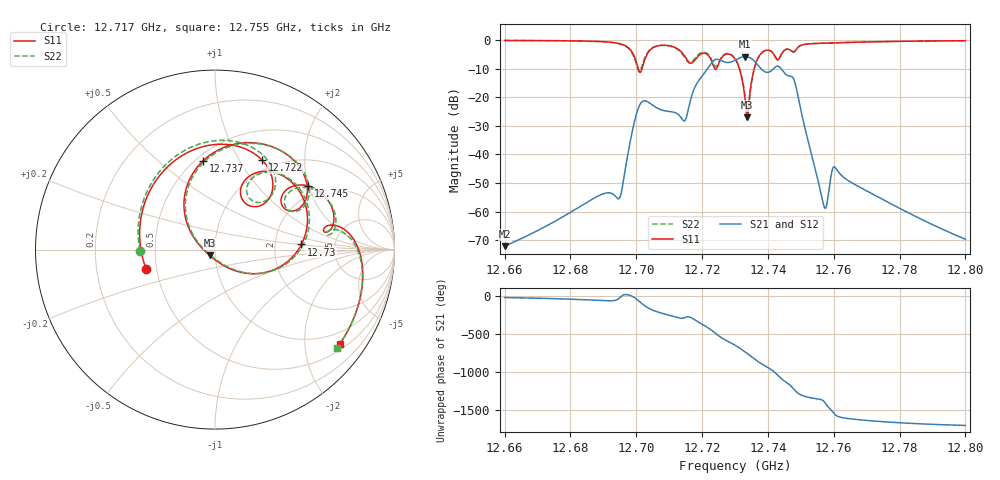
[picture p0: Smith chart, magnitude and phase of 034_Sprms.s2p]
! TOUCHSTONE file generated by CST MICROWAVE STUDIO
! Date and time: Wed Jul 31 12:22:45 2024
! Project name: WaveGuide_BPF-Ver4.1_U-shape_Ku_T3_C4_CWA_2.cst
! Parameters = {cavity_h=16; cavity_l0=10; cavity_l1=15.1678; cavity_l2=16.8631; cavity_l3=17.1284; cavity_l4=17.2769; cavity_l5=17.1045; cavity_l6=17.5606; cavity_r=2.5; cavity_screw_l=0.5; cavity_screw_r=1.5; cavity_w=8; iris_h00=0; iris_h01=8.8008; iris_h112=0; iris_h12=5.6139; iris_h211=3.6656; 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
! Header version: 2018
! Port assignment regex: !\s*Touchstone port\s*([0-9]+)\s*=\s*(CST MWS port|CST DS port)\s*([0-9]+|Zmin|Zmax)\s*\(\"(.*)\"\)(\s*mode\s*([0-9]+))?.*
! Touchstone port assignment:
! Touchstone port 1 = CST MWS port 1 ("")
! Touchstone port 2 = CST MWS port 2 ("")
# GHz S RI R 50
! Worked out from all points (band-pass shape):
!   5001 points, 12.66 GHz to 12.8 GHz, reference 50 ohm
!   highest |S21| = -5.77 dB at 12.733 GHz (marker M1); lowest = -72.1 dB at 12.66 GHz (marker M2)
!   |S21| within 3 dB of the highest: 12.72237 GHz to 12.73696 GHz (14.59 MHz wide, 0.115 % of centre)
!   lowest |S11| = -27.1 dB at 12.734 GHz (marker M3), VSWR 1.09, Z = 47 - j3.08 ohm
!   |S11| at or under -10 dB: 12.70058 GHz to 12.70176 GHz (1.172 MHz wide, 0.00923 % of centre); 12.72384 GHz to 12.72438 GHz (534.2 kHz wide, 0.0042 % of centre); 12.73133 GHz to 12.73584 GHz (4.512 MHz wide, 0.0354 % of centre)
!   |S22| runs from -27.8 to -0.1 dB; largest |S21 - S12| = 1.4e-09
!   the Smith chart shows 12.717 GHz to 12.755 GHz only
!   S11 on the Smith chart (normalised r, x): 12.717 GHz: 0.44, -0.11; 12.722 GHz: 0.87, +1.26; 12.73 GHz: 2.84, +0.21; 12.737 GHz: 0.54, +0.72; 12.745 GHz: 1.69, +1.98; 12.755 GHz: 0.65, -2.84
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12.66  0.1932 0.9653  0.000239 -6.65e-05  0.000239 -6.65e-05  0.1991 0.964
12.68335  0.5783 0.7699  0.000928 -0.000864  0.000928 -0.000864  0.5863 0.7631
12.69489  0.8377 0.2237  0.00159 -0.000596  0.00159 -0.000596  0.8382 0.1915
12.69942  0.3406 -0.3852  0.0355 -0.0101  0.0355 -0.0101  0.261 -0.4004
12.7022  -0.3243 0.2099  -0.032 -0.0801  -0.032 -0.0801  -0.3231 0.2805
12.70668  0.446 0.6571  -0.0553 0.0307  -0.0553 0.0307  0.4648 0.6478
12.71219  0.7165 -0.0965  0.00696 0.0521  0.00696 0.0521  0.6921 -0.1378
12.71695  -0.3837 -0.1083  0.0354 0.1052  0.0354 0.1052  -0.4181 -0.00807
12.72157  0.2637 0.4971  0.2014 -0.2378  0.2014 -0.2378  0.2848 0.5085
12.72538  0.1711 0.3916  -0.4455 -0.05  -0.4455 -0.05  0.207 0.3976
12.72983  0.4814 0.0287  0.0965 0.4276  0.0965 0.4276  0.4899 0.0254
12.73  0.4673 0.00433  0.1292 0.4242  0.1292 0.4242  0.4759 0.00183
12.73308  0.0355 -0.0811  0.4936 -0.145  0.4936 -0.145  0.0507 -0.0852
12.7337  -0.03 -0.0327  0.4112 -0.3025  0.4112 -0.3025  -0.0167 -0.0389
12.73711  -0.0662 0.4949  -0.2997 -0.1914  -0.2997 -0.1914  -0.0545 0.4945
12.74464  0.5173 0.3552  0.2421 -0.1433  0.2421 -0.1433  0.5352 0.3401
12.75335  0.7585 -0.4155  -0.000552 0.00945  -0.000552 0.00945  0.7465 -0.4402
12.75453  0.6949 -0.5266  0.000405 0.00509  0.000405 0.00509  0.68 -0.5482
12.7573  0.5003 -0.7277  0.000953 0.000634  0.000953 0.000634  0.4814 -0.742
12.76024  0.2657 -0.8496  -0.00316 -0.00513  -0.00316 -0.00513  0.2455 -0.8572
12.77668  -0.7261 -0.6023  -0.00099 0.00104  -0.00099 0.00104  -0.7347 -0.5928
12.8  -0.9721 0.068  5.04e-06 0.000328  5.04e-06 0.000328  -0.9717 0.0763
